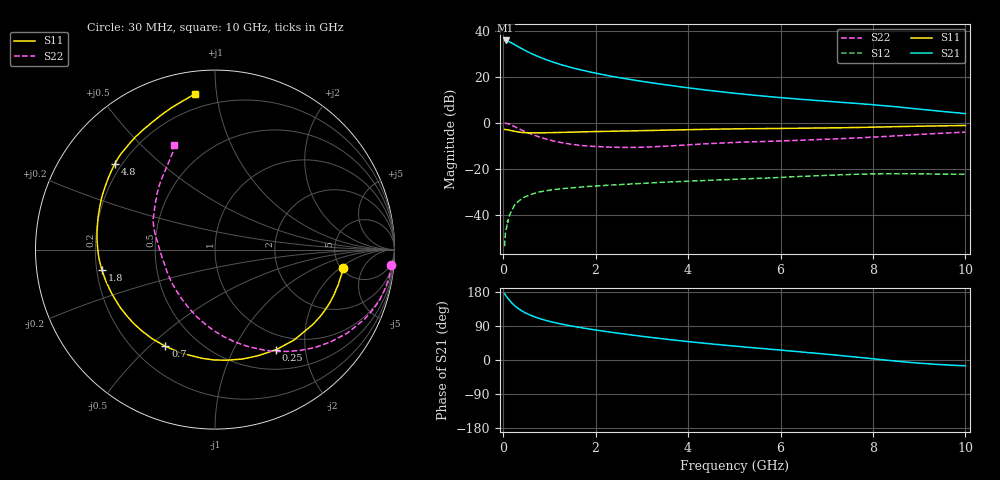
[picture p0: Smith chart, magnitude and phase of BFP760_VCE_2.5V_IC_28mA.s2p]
! Infineon Technologies  Discrete & RF Semiconductors
! BFP760
! VCE =  2.5 V,  IC =  28 mA
! Common Emitter S-Parameters:  Nov 2012
# GHz  S  MA  R  50
!  f  S11  S21  S12  S22
! GHz  MAG  ANG  MAG  ANG  MAG  ANG  MAG  ANG
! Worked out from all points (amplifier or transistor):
!   99 points, 30 MHz to 10 GHz, reference 50 ohm
!   highest |S21| = 35.8 dB at 50 MHz (marker M1)
!   |S21| within 3 dB of that: start of sweep to 350 MHz
!   unconditionally stable (mu >= 1): 4.283 GHz to end of sweep
!   at 350 MHz: K = 0.26, MSG = 33.3 dB, |S12| = -33.8 dB
!   at 3.5 GHz: K = 0.92, MSG = 21.2 dB, |S12| = -25.8 dB
!   at 10 GHz: K = 1.08, MAG = 11.4 dB, |S12| = -22.3 dB
!   S11 on the Smith chart (normalised r, x): 30 MHz: 5.21, -2.17; 250 MHz: 0.77, -1.49; 700 MHz: 0.33, -0.56; 1.8 GHz: 0.22, -0.08; 4.8 GHz: 0.17, +0.36; 10 GHz: 0.12, +0.87
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0.03  0.7199 -8.0  61.43 174.9  0.0021 80.9  0.9856 -4.9
0.05  0.7156 -13.1  61.55 170.9  0.0041 83.3  0.9829 -8.3
0.1  0.7036 -25.8  59.29 162.8  0.0069 77.3  0.9592 -17.0
0.15  0.6854 -37.8  56.38 155.4  0.0106 72.9  0.9179 -25.1
0.2  0.6693 -48.8  53.09 148.9  0.0134 68.8  0.8719 -32.2
0.25  0.6534 -58.7  49.83 143.1  0.0166 64.0  0.8244 -38.6
0.35  0.6283 -76.1  43.57 133.7  0.0205 57.4  0.7382 -49.5
0.45  0.6151 -90.4  38.4 126.3  0.0241 52.8  0.6639 -58.8
0.6  0.6066 -107.8  32.3 117.7  0.0279 46.9  0.5742 -70.7
0.7  0.6055 -117.1  29.09 113.0  0.03 44.4  0.527 -77.8
0.9  0.6095 -132.0  24.13 105.3  0.0332 39.5  0.4535 -90.4
1.1  0.6146 -143.6  20.49 99.1  0.0356 36.7  0.4017 -101.4
1.4  0.625 -156.7  16.65 91.4  0.0382 33.8  0.3522 -115.6
1.7  0.636 -166.9  13.98 85.0  0.0405 32.1  0.3216 -128.1
1.8  0.6402 -169.8  13.27 83.0  0.0413 31.7  0.3162 -132.1
2.5  0.6621 173.4  9.635 70.5  0.0455 29.7  0.294 -155.4
3.4  0.6901 157.1  6.957 56.7  0.0509 28.1  0.3077 -179.4
4.8  0.7349 139.3  4.626 39.0  0.0584 25.9  0.3675 158.6
5.1  0.7424 136.7  4.301 35.7  0.06 25.5  0.3785 155.5
6.7  0.7699 124.7  3.105 18.6  0.0705 21.8  0.4291 140.1
8.5  0.8271 107.0  2.234 -3.0  0.0787 11.6  0.5216 122.1
10  0.876 97.3  1.59 -15.3  0.0766 7.3  0.6282 111.4
